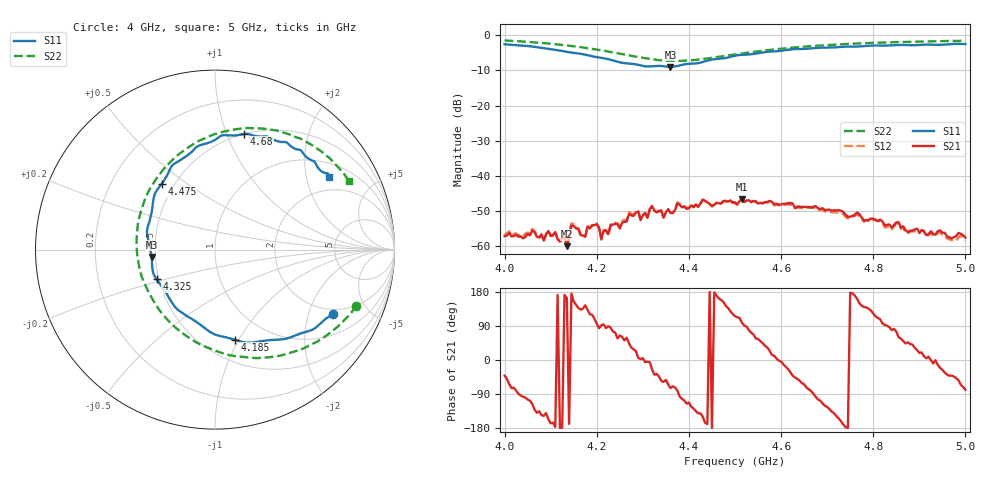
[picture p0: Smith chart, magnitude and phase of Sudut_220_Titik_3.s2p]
# Hz S RI R 50
! CMT, C1220, 16058040, 17.2.0/1
! Date: 15/08/2018 12:40:31
! Data: Format (Calibration Info)
! Freq  S11: Re/Im (F2)  S21: Re/Im (F2)  S12: Re/Im (F2)  S22: Re/Im (F2)
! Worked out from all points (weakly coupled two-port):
!   201 points, 4 GHz to 5 GHz, reference 50 ohm
!   highest |S21| = -46.65 dB at 4.515 GHz (marker M1); lowest = -60.1 dB at 4.135 GHz (marker M2)
!   lowest |S11| = -9.0 dB at 4.36 GHz (marker M3), VSWR 2.11, Z = 23.8 - j2.22 ohm
!   |S11| at or under -10 dB: nowhere
!   |S22| runs from -7.3 to -1.4 dB; largest |S21 - S12| = 0.00023
!   S11 on the Smith chart (normalised r, x): 4 GHz: 1.78, -2.90; 4.185 GHz: 0.71, -0.96; 4.325 GHz: 0.49, -0.19; 4.475 GHz: 0.43, +0.40; 4.68 GHz: 0.50, +1.16; 5 GHz: 1.47, +2.75
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4e9  0.6558 -0.3599  0.00103 -0.000911  0.00114 -0.000888  0.7872 -0.3132
4.06e9  0.5274 -0.4521  -0.000717 -0.00149  -0.000741 -0.00158  0.6666 -0.4434
4.085e9  0.4551 -0.4756  -0.001 -0.00064  -0.000928 -0.000696  0.6006 -0.4937
4.11e9  0.3721 -0.5  -0.00157 -8.78e-05  -0.0016 -0.000205  0.5244 -0.5352
4.135e9  0.2889 -0.5061  -0.000952 0.000276  -0.0011 0.000164  0.4386 -0.5688
4.145e9  0.2494 -0.5111  -0.00193 0.000176  -0.00209 0.000102  0.4012 -0.5805
4.17e9  0.1592 -0.5161  -0.00101 0.000985  -0.00103 0.00102  0.3065 -0.5991
4.185e9  0.1107 -0.5016  -0.000902 0.00152  -0.000882 0.00155  0.2433 -0.6042
4.2e9  0.0555 -0.4874  -0.000208 0.00203  -0.000223 0.00207  0.1792 -0.6008
4.21e9  0.0177 -0.4788  -3.98e-05 0.00126  -4.47e-05 0.00123  0.136 -0.5963
4.27e9  -0.1868 -0.3499  0.00206 0.00196  0.00221 0.00205  -0.1242 -0.5044
4.325e9  -0.3256 -0.1656  0.00248 -0.00199  0.00244 -0.00201  -0.3238 -0.3169
4.335e9  -0.3431 -0.1333  0.00229 -0.00219  0.00217 -0.00221  -0.3497 -0.2733
4.36e9  -0.3538 -0.0408  0.000805 -0.00283  0.000916 -0.00282  -0.406 -0.1573
4.375e9  -0.3651 0.0293  0.00065 -0.00394  0.000634 -0.00412  -0.4252 -0.0819
4.475e9  -0.2972 0.367  -0.00389 0.00198  -0.00379 0.0021  -0.3391 0.3748
4.5e9  -0.2513 0.4471  -0.00179 0.00378  -0.0018 0.00364  -0.2791 0.4566
4.515e9  -0.2292 0.4769  -0.000703 0.0046  -0.000662 0.00456  -0.238 0.4995
4.67e9  0.1445 0.6409  7.74e-05 -0.0036  -2.89e-05 -0.00348  0.2047 0.6771
4.68e9  0.1634 0.6449  -0.000839 -0.00333  -0.000924 -0.0032  0.2313 0.6757
4.835e9  0.4482 0.5607  0.000112 0.00202  0.000148 0.00186  0.5496 0.5762
5e9  0.6379 0.4025  0.000255 -0.00129  0.00027 -0.00117  0.7461 0.3828
